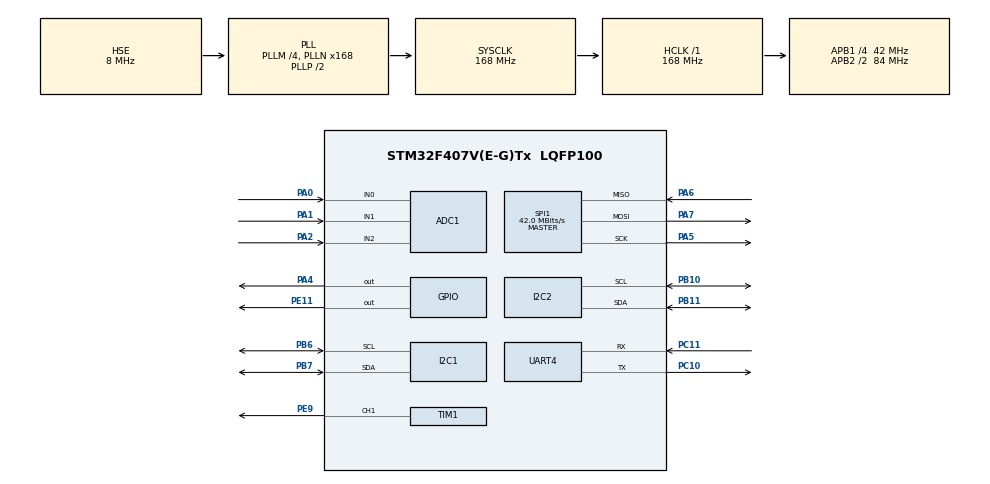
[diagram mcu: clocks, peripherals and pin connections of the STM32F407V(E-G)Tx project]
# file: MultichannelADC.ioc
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ADC1.Channel-0\#ChannelRegularConversion=ADC_CHANNEL_0
ADC1.Channel-1\#ChannelRegularConversion=ADC_CHANNEL_1
ADC1.Channel-2\#ChannelRegularConversion=ADC_CHANNEL_2
ADC1.ClockPrescaler=ADC_CLOCK_SYNC_PCLK_DIV4
ADC1.ContinuousConvMode=ENABLE
ADC1.DMAContinuousRequests=ENABLE
ADC1.NbrOfConversion=3
ADC1.NbrOfConversionFlag=1
ADC1.Rank-0\#ChannelRegularConversion=1
ADC1.Rank-1\#ChannelRegularConversion=2
ADC1.Rank-2\#ChannelRegularConversion=3
ADC1.SamplingTime-0\#ChannelRegularConversion=ADC_SAMPLETIME_480CYCLES
ADC1.SamplingTime-1\#ChannelRegularConversion=ADC_SAMPLETIME_480CYCLES
ADC1.SamplingTime-2\#ChannelRegularConversion=ADC_SAMPLETIME_480CYCLES
ADC1.ScanConvMode=ENABLE
ADC1.master=1
Dma.ADC1.0.Direction=DMA_PERIPH_TO_MEMORY
Dma.ADC1.0.FIFOMode=DMA_FIFOMODE_DISABLE
Dma.ADC1.0.Instance=DMA2_Stream0
Dma.ADC1.0.MemDataAlignment=DMA_MDATAALIGN_WORD
Dma.ADC1.0.MemInc=DMA_MINC_ENABLE
Dma.ADC1.0.Mode=DMA_CIRCULAR
Dma.ADC1.0.PeriphDataAlignment=DMA_PDATAALIGN_WORD
Dma.ADC1.0.PeriphInc=DMA_PINC_DISABLE
Dma.ADC1.0.Priority=DMA_PRIORITY_LOW
Dma.Request0=ADC1
I2C1.OwnAddress=0
I2C2.DualAddressMode=I2C_DUALADDRESS_DISABLE
I2C2.OwnAddress=1
Mcu.Family=STM32F4
Mcu.Name=STM32F407V(E-G)Tx
Mcu.Package=LQFP100
NVIC.DMA2_Stream0_IRQn=true\:0\:0\:false\:false\:true\:false\:true
NVIC.PriorityGroup=NVIC_PRIORITYGROUP_4
PA0-WKUP.Signal=ADCx_IN0
PA1.Signal=ADCx_IN1
PA13.Mode=Serial_Wire
PA13.Signal=SYS_JTMS-SWDIO
PA14.Mode=Serial_Wire
PA14.Signal=SYS_JTCK-SWCLK
PA2.Signal=ADCx_IN2
PA4.GPIO_PuPd=GPIO_PULLUP
PA4.Signal=GPIO_Output
PA5.GPIO_PuPd=GPIO_PULLUP
PA5.Mode=Full_Duplex_Master
PA5.Signal=SPI1_SCK
PA6.GPIO_PuPd=GPIO_PULLUP
PA6.Mode=Full_Duplex_Master
PA6.Signal=SPI1_MISO
PA7.GPIO_PuPd=GPIO_PULLUP
PA7.Mode=Full_Duplex_Master
PA7.Signal=SPI1_MOSI
PB10.GPIO_Pu=GPIO_PULLUP
PB10.Mode=I2C
PB10.Signal=I2C2_SCL
PB11.GPIO_Pu=GPIO_PULLUP
PB11.Mode=I2C
PB11.Signal=I2C2_SDA
PB6.GPIO_Pu=GPIO_PULLUP
PB6.Mode=I2C
PB6.Signal=I2C1_SCL
PB7.GPIO_Pu=GPIO_PULLUP
PB7.Mode=I2C
PB7.Signal=I2C1_SDA
PC10.Mode=Asynchronous
PC10.Signal=UART4_TX
PC11.Mode=Asynchronous
PC11.Signal=UART4_RX
PE11.Signal=GPIO_Output
PE9.Signal=S_TIM1_CH1
PH0-OSC_IN.Mode=HSE-External-Oscillator
PH0-OSC_IN.Signal=RCC_OSC_IN
PH1-OSC_OUT.Mode=HSE-External-Oscillator
PH1-OSC_OUT.Signal=RCC_OSC_OUT
ProjectManager.HeapSize=0x200
ProjectManager.StackSize=0x400
ProjectManager.TargetToolchain=STM32CubeIDE
RCC.48MHZClocksFreq_Value=84000000
RCC.AHBFreq_Value=168000000
RCC.APB1CLKDivider=RCC_HCLK_DIV4
RCC.APB1Freq_Value=42000000
RCC.APB1TimFreq_Value=84000000
RCC.APB2CLKDivider=RCC_HCLK_DIV2
RCC.APB2Freq_Value=84000000
RCC.APB2TimFreq_Value=168000000
RCC.CortexFreq_Value=168000000
RCC.HCLKFreq_Value=168000000
RCC.HSE_VALUE=8000000
RCC.HSI_VALUE=16000000
RCC.LSE_VALUE=32768
RCC.PLLM=4
RCC.PLLN=168
RCC.PLLSourceVirtual=RCC_PLLSOURCE_HSE
RCC.SYSCLKFreq_VALUE=168000000
RCC.SYSCLKSource=RCC_SYSCLKSOURCE_PLLCLK
RCC.VCOOutputFreq_Value=336000000
SH.ADCx_IN0.0=ADC1_IN0,IN0
SH.ADCx_IN1.0=ADC1_IN1,IN1
SH.ADCx_IN2.0=ADC1_IN2,IN2
SH.S_TIM1_CH1.0=TIM1_CH1,PWM Generation1 CH1
SPI1.CalculateBaudRate=42.0 MBits/s
SPI1.Direction=SPI_DIRECTION_2LINES
SPI1.Mode=SPI_MODE_MASTER
SPI1.VirtualType=VM_MASTER
TIM1.Channel-PWM\ Generation1\ CH1=TIM_CHANNEL_1
TIM1.Period=999
TIM1.Prescaler=335
TIM1.RepetitionCounter=12
UART4.VirtualMode=Asynchronous
VP_FATFS_VS_Generic.Mode=User_defined
VP_TIM1_VS_ClockSourceINT.Mode=Internal
board=custom

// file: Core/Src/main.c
/* USER CODE BEGIN Header */
/**
  ******************************************************************************
  * @file           : main.c
  * @brief          : Main program body
  ******************************************************************************
  * @attention
  *
  * Copyright (c) 2023 STMicroelectronics.
  * All rights reserved.
  *
  * This software is licensed under terms that can be found in the LICENSE file
  * in the root directory of this software component.
  * If no LICENSE file comes with this software, it is provided AS-IS.
  *
  ******************************************************************************
  */
/* USER CODE END Header */
#include "main.h"
#include "adc.h"
#include "dma.h"
#include "fatfs.h"
#include "i2c.h"
#include "spi.h"
#include "tim.h"
#include "usart.h"
#include "gpio.h"

/* USER CODE BEGIN Includes */
#include "stm32f4xx_hal.h"
#include <stdio.h>
#include <string.h>
#include <stdarg.h> //for va_list var arg functions
#include <stdlib.h>
#include <MCP4725.h>

//#include "user_diskio_spi.h"
//#include "user_diskio.h"
/* USER CODE END Includes */

/* USER CODE BEGIN PV */
uint32_t my_adc[3];
uint32_t AI0_bit, AI1_bit, AI2_bit;
float AI0_volt, AI1_volt, AI2_volt;
float AO0_volt = 0; // valve flow control Qin
float AO1_volt = 0; // pompa
uint16_t AO0_bit, AO1_bit = 0;

char buffer[100];
char Tx_buffer[100],Rx_buffer[100];
char Rx_buffer_string[];
char Rx_buffer_status[];

//char data1, data2, data3;
uint32_t prevSP, SP,KP,KI = 0;

//float KI_nopointer;
//int startTime, diffTime;
/* USER CODE END PV */

void SystemClock_Config(void);
/* USER CODE BEGIN PFP */
void myprintf(const char *fmt, ...);
uint8_t setValue_AO0(uint16_t AO0_bit);
uint8_t setValue_AO1(uint16_t AO1_bit);
/* USER CODE END PFP */

/* USER CODE BEGIN 0 */
// First, create an MCP4725 object:
MCP4725 myMCP4725_AO0;
MCP4725 myMCP4725_AO1;

uint32_t micro_seconds = 0;
int awal = 1;
char stringKirim[] = "k, timestamp, MV_volt_FCValve, MV_volt_drain, bit_flow, bit_level, bit_PA2\n";
int k = 0;
uint32_t timestamp;
int value1, value2, DAC_OUT;
float Vout=0.00;
uint32_t startTime, diffTime;
//untuk step time
uint32_t prevStepTime,currentTime = 0;
int firstStep = 1;

uint32_t prevTime = 0;
uint8_t timeSampling = 50; // dalam ms
uint16_t SPMCP0, SPMCP1 = 0;
char comment[]="";
uint8_t BufferFinder[25] = {0};
uint8_t Space[] = " - ";
uint8_t StartMSG[] = "Starting I2C Scanning: \r\n";
uint8_t EndMSG[] = "Done! \r\n\r\n";
int errorDAC = 0;
/* USER CODE END 0 */

int main(void)
{
  /* USER CODE BEGIN 1 */
	startTime = HAL_GetTick();
	FATFS FatFs; //Fatfs object
	FIL fil; //File object
  /* USER CODE END 1 */

  /* MCU Configuration--------------------------------------------------------*/

  /* Reset of all peripherals, Initializes the Flash interface and the Systick. */
  HAL_Init();

  /* Configure the system clock */
  SystemClock_Config();

  /* Initialize all configured peripherals */
  MX_GPIO_Init();
  MX_DMA_Init();
  MX_ADC1_Init();
  MX_TIM1_Init();
  MX_SPI1_Init();
  MX_FATFS_Init();
  MX_UART4_Init();
  MX_I2C1_Init();
  MX_I2C2_Init();
  /* USER CODE BEGIN 2 */
  HAL_ADC_Start_DMA(&hadc1, my_adc, 3);
  HAL_TIM_PWM_Start(&htim1, TIM_CHANNEL_1);
  HAL_TIM_PWM_Start(&htim1, TIM_CHANNEL_2);
  //https://github.com/SMotlaq/mcp4725/blob/master/Core/Src/main.c
  // Second, initilaize the MCP4725 object:

	myMCP4725_AO0 = MCP4725_init(&hi2c1, MCP4725A0_ADDR_A00, 5);
	myMCP4725_AO1 = MCP4725_init(&hi2c1, MCP4725A0_ADDR_A01, 5);

//  https://github.com/kiwih/cubemx-mmc-sd-card/blob/master/Src/main.c

  myprintf("\r\n\r\n(Powering up)\r\nReady to write data --\r\nThe data will be save in csv format.\r\n\r\n");
  FRESULT fres;

  //Mount drive
  fres = f_mount(&FatFs, "", 1); //1=mount now
  if (fres != FR_OK) {
	myprintf("f_mount error (%i)\r\n", fres);
//	while(1);
 }
  else{
	  myprintf("SD CARD mounted successfully...\n\n");
 }

 /* Check free space */
  DWORD free_clusters, free_sectors, total_sectors;
  FATFS* getFreeFs;
  fres = f_getfree("", &free_clusters, &getFreeFs);

  if (fres != FR_OK) {
	myprintf("f_getfree error (%i)\r\n", fres);
	while(1);
  } else{
	total_sectors = (getFreeFs->n_fatent - 2) * getFreeFs->csize;
	free_sectors = free_clusters * getFreeFs->csize;
	myprintf("SD card stats:\r\n%10lu KiB total drive space.\r\n%10lu KiB available.\r\n", total_sectors / 2, free_sectors / 2);
  }

  /*-----READ TEST.TXT by f_open method----*/
  fres = f_open(&fil, "testBaca.txt", FA_READ); //Try to open file
  if (fres != FR_OK) {
	  myprintf("f_open error (%i)\r\n");
	  while(1);
  } else{
	  myprintf("I was able to open 'testBaca.txt' for reading!\r\n");
  }

  /*-----READ TEST.TXT by f_gets method----*/
  BYTE readBuf[30];
  //We can either use f_read OR f_gets to get data out of files
  //f_gets is a wrapper on f_read that does some string formatting for us
  TCHAR* rres = f_gets((TCHAR*)readBuf, 30, &fil);
  if(rres != 0) {
	  myprintf("Read string from 'testBaca.txt' contents: %s\r\n", readBuf);
  } else {
	  myprintf("f_gets error (%i)\r\n", fres);
	  while(1);
  }
  f_close(&fil); //Close file, don't forget this!

  /*-----OPEN WRITE.TXT READY TO WRITE----*/
  fres = f_open(&fil, "write.txt", FA_WRITE | FA_OPEN_ALWAYS | FA_CREATE_ALWAYS);
  if(fres == FR_OK) {
	  myprintf("I was able to open 'write.txt' for writing\r\n");
  } else {
	  myprintf("f_open error (%i)\r\n", fres);
   while(1);
  }

  setValue_AO0(0);	// 0mV di awal
  setValue_AO1(0);	// 0mV di awal
  prevTime = 0;

  /* USER CODE END 2 */

  /* Infinite loop */
  while (1)

    /* USER CODE BEGIN 3 */
	{
	diffTime = HAL_GetTick() - startTime; // dalam ms

	AO0_bit = (uint16_t) 4095 * AO0_volt / 24; // divided by 24V karena AO0 mengirim tegangan max 24V
	AO1_bit = (uint16_t) 4095 * AO1_volt / 10; // divided by 10V karena AO0 mengirim tegangan max 10V

	if(!MCP4725_isConnected(&myMCP4725_AO0)){
		/* Print that the DAC is connected */
		errorDAC = 1;
		myprintf("MCP A0 not connected | ");
		}
	if(!MCP4725_isConnected(&myMCP4725_AO1)){
		/* Print that the DAC is connected */
		errorDAC = 1;
		myprintf("MCP A1 not connected | ");
		}

	if(MCP4725_isConnected(&myMCP4725_AO0) && MCP4725_isConnected(&myMCP4725_AO1)){
		errorDAC = 0;/* Print that the DAC is NOT connected */
		myprintf("Both MCP4725 s Connected  -- ");
		}

	setValue_AO0(AO0_bit);
	setValue_AO1(AO1_bit);

	/*-----STORING TO MICRO SD----*/
	UINT bytesWrote;
	if((diffTime - prevTime) >= timeSampling){
		fres = f_write(&fil, stringKirim, strlen(stringKirim), &bytesWrote);
		k++;
		prevTime = HAL_GetTick();
		}

	timestamp = HAL_GetTick() - startTime;
	/* KONVERSI bit ke Volt */
	AI0_volt = AI0_bit * 3.3 / 4096; // PA0
	AI1_volt = AI1_bit * 3.3 / 4096; // PA1
	AI2_volt = AI2_bit * 3.3 / 4096; // PA2
	sprintf(stringKirim,"%d, %d, %f, %f, %d, %d, %d\n",k,timestamp, AO0_volt, AO1_volt, AI0_bit, AI1_bit, AI2_bit); // stringKirim baru, sesuai nilai adc cpltCallback

	if(fres == FR_OK) {
	myprintf("Status: %s",stringKirim);
	} else {
	if(awal==0){ myprintf("f_write error (%i)\r\n"); }
	HAL_UART_Receive(&huart4, (char*)Rx_buffer, 50, 500);
	sprintf(Rx_buffer_string,"%s",Rx_buffer);
	char* Rx_buffer_print = strtok(Rx_buffer_string,"\r\n");
	sscanf(Rx_buffer_print, "[SP=%d],[KP=%d],[KI=%d]", &SP, &KP, &KI);
	myprintf("SP = %d | KP = %d | KI = %d \n",SP, KP, KI);
	}
	if(SP != prevSP){
	/*-----PWM DAC DUTY CYCLE GENERATION-----*/
		htim1.Instance->CCR1 = SP * 999 / 4096; // output PE9 dalam 0 (0% duty cycle) - 4096 (100% duty cycle) 1kHz HCLK
		htim1.Instance->CCR2 = KP * 999 / 4096; // output PE9 dalam 0 (0% duty cycle) - 4096 (100% duty cycle) 1kHz HCLK
		prevSP = SP;
	}

	if(diffTime > 3000){ // awal kali 0V, setelah 2s keluar AO sesuai yg diminta
			AO0_volt = 22; // valve flow control Qin
			AO1_volt = 10; // pompa, drain valve
			if(diffTime > 123000) { // waktu stop untuk close dan unmount csv, nilai ini harus + difftime 2s
				f_close(&fil); //Close file, don't forget this!
				f_mount(NULL, "", 0); //De-mount drive
				// normalkan kondisi semua off
				AO0_volt = 0;
				AO1_volt = 0;
				}
			}
	}
  /* USER CODE END 3 */
}

void SystemClock_Config(void)
{
  RCC_OscInitTypeDef RCC_OscInitStruct = {0};
  RCC_ClkInitTypeDef RCC_ClkInitStruct = {0};

  /** Configure the main internal regulator output voltage
  */
  __HAL_RCC_PWR_CLK_ENABLE();
  __HAL_PWR_VOLTAGESCALING_CONFIG(PWR_REGULATOR_VOLTAGE_SCALE1);
  /** Initializes the RCC Oscillators according to the specified parameters
  * in the RCC_OscInitTypeDef structure.
  */
  RCC_OscInitStruct.OscillatorType = RCC_OSCILLATORTYPE_HSE;
  RCC_OscInitStruct.HSEState = RCC_HSE_ON;
  RCC_OscInitStruct.PLL.PLLState = RCC_PLL_ON;
  RCC_OscInitStruct.PLL.PLLSource = RCC_PLLSOURCE_HSE;
  RCC_OscInitStruct.PLL.PLLM = 4;
  RCC_OscInitStruct.PLL.PLLN = 168;
  RCC_OscInitStruct.PLL.PLLP = RCC_PLLP_DIV2;
  RCC_OscInitStruct.PLL.PLLQ = 4;
  if (HAL_RCC_OscConfig(&RCC_OscInitStruct) != HAL_OK)
  {
    Error_Handler();
  }
  /** Initializes the CPU, AHB and APB buses clocks
  */
  RCC_ClkInitStruct.ClockType = RCC_CLOCKTYPE_HCLK|RCC_CLOCKTYPE_SYSCLK
                              |RCC_CLOCKTYPE_PCLK1|RCC_CLOCKTYPE_PCLK2;
  RCC_ClkInitStruct.SYSCLKSource = RCC_SYSCLKSOURCE_PLLCLK;
  RCC_ClkInitStruct.AHBCLKDivider = RCC_SYSCLK_DIV1;
  RCC_ClkInitStruct.APB1CLKDivider = RCC_HCLK_DIV4;
  RCC_ClkInitStruct.APB2CLKDivider = RCC_HCLK_DIV2;

  if (HAL_RCC_ClockConfig(&RCC_ClkInitStruct, FLASH_LATENCY_5) != HAL_OK)
  {
    Error_Handler();
  }
}

/* USER CODE BEGIN 4 */
void HAL_ADC_ConvCpltCallback(ADC_HandleTypeDef* hadc)
{

 if(hadc->Instance == ADC1)
  {
   AI0_bit = my_adc[0]; // PA0
   AI1_bit = my_adc[1]; // PA1
   AI2_bit = my_adc[2]; // PA2
   if(awal = 1){
	   diffTime = HAL_GetTick() - startTime;
   }
   awal = 0;
  }
}

void myprintf(const char *fmt, ...) {
  va_list args;
  va_start(args, fmt);
  vsnprintf(Tx_buffer, sizeof(Tx_buffer), fmt, args);
  va_end(args);
  HAL_UART_Transmit(&huart4, (uint8_t*)Tx_buffer, strlen(Tx_buffer), 100);
}

uint8_t setValue_AO0(uint16_t AO0_bit){
	return MCP4725_setValue(&myMCP4725_AO0, AO0_bit, MCP4725_FAST_MODE, MCP4725_POWER_DOWN_OFF);
}

uint8_t setValue_AO1(uint16_t AO1_bit){
	return MCP4725_setValue(&myMCP4725_AO1, AO1_bit, MCP4725_FAST_MODE, MCP4725_POWER_DOWN_OFF);
}

/* USER CODE END 4 */

void Error_Handler(void)
{
  __disable_irq();
  while (1)
  {
  }
}
